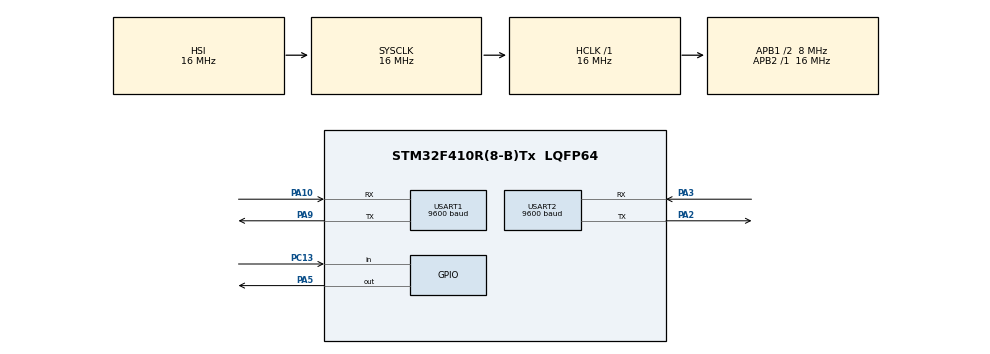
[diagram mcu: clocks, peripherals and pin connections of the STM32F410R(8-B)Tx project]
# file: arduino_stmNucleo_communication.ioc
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Dma.Request0=USART2_RX
Dma.Request1=USART2_TX
Dma.Request2=USART1_RX
Dma.Request3=USART1_TX
Dma.USART1_RX.2.Direction=DMA_PERIPH_TO_MEMORY
Dma.USART1_RX.2.FIFOMode=DMA_FIFOMODE_DISABLE
Dma.USART1_RX.2.Instance=DMA2_Stream2
Dma.USART1_RX.2.MemDataAlignment=DMA_MDATAALIGN_BYTE
Dma.USART1_RX.2.MemInc=DMA_MINC_ENABLE
Dma.USART1_RX.2.Mode=DMA_CIRCULAR
Dma.USART1_RX.2.PeriphDataAlignment=DMA_PDATAALIGN_BYTE
Dma.USART1_RX.2.PeriphInc=DMA_PINC_DISABLE
Dma.USART1_RX.2.Priority=DMA_PRIORITY_LOW
Dma.USART1_TX.3.Direction=DMA_MEMORY_TO_PERIPH
Dma.USART1_TX.3.FIFOMode=DMA_FIFOMODE_DISABLE
Dma.USART1_TX.3.Instance=DMA2_Stream7
Dma.USART1_TX.3.MemDataAlignment=DMA_MDATAALIGN_BYTE
Dma.USART1_TX.3.MemInc=DMA_MINC_ENABLE
Dma.USART1_TX.3.Mode=DMA_CIRCULAR
Dma.USART1_TX.3.PeriphDataAlignment=DMA_PDATAALIGN_BYTE
Dma.USART1_TX.3.PeriphInc=DMA_PINC_DISABLE
Dma.USART1_TX.3.Priority=DMA_PRIORITY_LOW
Dma.USART2_RX.0.Direction=DMA_PERIPH_TO_MEMORY
Dma.USART2_RX.0.FIFOMode=DMA_FIFOMODE_DISABLE
Dma.USART2_RX.0.Instance=DMA1_Stream5
Dma.USART2_RX.0.MemDataAlignment=DMA_MDATAALIGN_BYTE
Dma.USART2_RX.0.MemInc=DMA_MINC_ENABLE
Dma.USART2_RX.0.Mode=DMA_CIRCULAR
Dma.USART2_RX.0.PeriphDataAlignment=DMA_PDATAALIGN_BYTE
Dma.USART2_RX.0.PeriphInc=DMA_PINC_DISABLE
Dma.USART2_RX.0.Priority=DMA_PRIORITY_LOW
Dma.USART2_TX.1.Direction=DMA_MEMORY_TO_PERIPH
Dma.USART2_TX.1.FIFOMode=DMA_FIFOMODE_DISABLE
Dma.USART2_TX.1.Instance=DMA1_Stream6
Dma.USART2_TX.1.MemDataAlignment=DMA_MDATAALIGN_BYTE
Dma.USART2_TX.1.MemInc=DMA_MINC_ENABLE
Dma.USART2_TX.1.Mode=DMA_NORMAL
Dma.USART2_TX.1.PeriphDataAlignment=DMA_PDATAALIGN_BYTE
Dma.USART2_TX.1.PeriphInc=DMA_PINC_DISABLE
Dma.USART2_TX.1.Priority=DMA_PRIORITY_LOW
Mcu.Family=STM32F4
Mcu.Name=STM32F410R(8-B)Tx
Mcu.Package=LQFP64
NVIC.DMA1_Stream5_IRQn=true\:0\:0\:false\:false\:true\:false
NVIC.DMA1_Stream6_IRQn=true\:0\:0\:false\:false\:true\:false
NVIC.DMA2_Stream2_IRQn=true\:0\:0\:false\:false\:true\:false
NVIC.DMA2_Stream7_IRQn=true\:0\:0\:false\:false\:true\:false
NVIC.PriorityGroup=NVIC_PRIORITYGROUP_0
NVIC.USART1_IRQn=true\:0\:0\:false\:false\:true\:true
NVIC.USART2_IRQn=true\:0\:0\:false\:false\:true\:true
PA10.Mode=Asynchronous
PA10.Signal=USART1_RX
PA2.Mode=Asynchronous
PA2.Signal=USART2_TX
PA3.Mode=Asynchronous
PA3.Signal=USART2_RX
PA5.Signal=GPIO_Output
PA9.Mode=Asynchronous
PA9.Signal=USART1_TX
PC13-ANTI_TAMP.Signal=GPIO_Input
PH0\ -\ OSC_IN.Mode=HSE-External-Oscillator
PH0\ -\ OSC_IN.Signal=RCC_OSC_IN
PH1\ -\ OSC_OUT.Mode=HSE-External-Oscillator
PH1\ -\ OSC_OUT.Signal=RCC_OSC_OUT
ProjectManager.HeapSize=0x200
ProjectManager.StackSize=0x400
ProjectManager.TargetToolchain=MDK-ARM V5
RCC.48MHZClocksFreq_Value=84000000
RCC.AHBFreq_Value=16000000
RCC.APB1CLKDivider=RCC_HCLK_DIV2
RCC.APB1Freq_Value=8000000
RCC.APB1TimFreq_Value=16000000
RCC.APB2Freq_Value=16000000
RCC.APB2TimFreq_Value=16000000
RCC.CortexFreq_Value=16000000
RCC.FLatency-AdvancedSettings=FLASH_LATENCY_0
RCC.HCLKFreq_Value=16000000
RCC.HSE_VALUE=8000000
RCC.HSI_VALUE=16000000
RCC.PLLN=336
RCC.PLLP=RCC_PLLP_DIV4
RCC.SYSCLKFreq_VALUE=16000000
RCC.VCOOutputFreq_Value=336000000
USART1.BaudRate=9600
USART1.VirtualMode=VM_ASYNC
USART2.BaudRate=9600
USART2.VirtualMode=VM_ASYNC
board=NUCLEO-F410RB

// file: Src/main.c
/**
  ******************************************************************************
  * @file           : main.c
  * @brief          : Main program body
  ******************************************************************************
  ** This notice applies to any and all portions of this file
  * that are not between comment pairs USER CODE BEGIN and
  * USER CODE END. Other portions of this file, whether
  * inserted by the user or by software development tools
  * are owned by their respective copyright owners.
  *
  * COPYRIGHT(c) 2018 STMicroelectronics
  *
  * Redistribution and use in source and binary forms, with or without modification,
  * are permitted provided that the following conditions are met:
  *   1. Redistributions of source code must retain the above copyright notice,
  *      this list of conditions and the following disclaimer.
  *   2. Redistributions in binary form must reproduce the above copyright notice,
  *      this list of conditions and the following disclaimer in the documentation
  *      and/or other materials provided with the distribution.
  *   3. Neither the name of STMicroelectronics nor the names of its contributors
  *      may be used to endorse or promote products derived from this software
  *      without specific prior written permission.
  *
  * THIS SOFTWARE IS PROVIDED BY THE COPYRIGHT HOLDERS AND CONTRIBUTORS "AS IS"
  * AND ANY EXPRESS OR IMPLIED WARRANTIES, INCLUDING, BUT NOT LIMITED TO, THE
  * IMPLIED WARRANTIES OF MERCHANTABILITY AND FITNESS FOR A PARTICULAR PURPOSE ARE
  * DISCLAIMED. IN NO EVENT SHALL THE COPYRIGHT HOLDER OR CONTRIBUTORS BE LIABLE
  * FOR ANY DIRECT, INDIRECT, INCIDENTAL, SPECIAL, EXEMPLARY, OR CONSEQUENTIAL
  * DAMAGES (INCLUDING, BUT NOT LIMITED TO, PROCUREMENT OF SUBSTITUTE GOODS OR
  * SERVICES; LOSS OF USE, DATA, OR PROFITS; OR BUSINESS INTERRUPTION) HOWEVER
  * CAUSED AND ON ANY THEORY OF LIABILITY, WHETHER IN CONTRACT, STRICT LIABILITY,
  * OR TORT (INCLUDING NEGLIGENCE OR OTHERWISE) ARISING IN ANY WAY OUT OF THE USE
  * OF THIS SOFTWARE, EVEN IF ADVISED OF THE POSSIBILITY OF SUCH DAMAGE.
  *
  ******************************************************************************
  */
#include "main.h"
#include "stm32f4xx_hal.h"

/* USER CODE BEGIN Includes */
#include "math.h"
#include "string.h"

#define task1  '1'
#define task2  '2'
#define task3  '3'
#define Not_Done '0'
/* USER CODE END Includes */

UART_HandleTypeDef huart1;
UART_HandleTypeDef huart2;
DMA_HandleTypeDef hdma_usart1_rx;
DMA_HandleTypeDef hdma_usart1_tx;
DMA_HandleTypeDef hdma_usart2_rx;
DMA_HandleTypeDef hdma_usart2_tx;

/* USER CODE BEGIN PV */
/* Private variables ---------------------------------------------------------*/

/* USER CODE END PV */

void SystemClock_Config(void);
static void MX_GPIO_Init(void);
static void MX_DMA_Init(void);
static void MX_USART1_UART_Init(void);
static void MX_USART2_UART_Init(void);

/* USER CODE BEGIN PFP */
/* Private function prototypes -----------------------------------------------*/
void Ordtre_Arduino(char task);
void Wait_Arduino_task();
/* USER CODE END PFP */

/* USER CODE BEGIN 0 */
uint8_t mytxData[] ="0"; //Data to send
uint8_t myrxData[1];          // Data to receive

/* USER CODE END 0 */

int main(void)
{

  /* MCU Configuration----------------------------------------------------------*/

  /* Reset of all peripherals, Initializes the Flash interface and the Systick. */
  HAL_Init();

  /* Configure the system clock */
  SystemClock_Config();

  /* Initialize all configured peripherals */
  MX_GPIO_Init();
  MX_DMA_Init();
  MX_USART1_UART_Init();
  MX_USART2_UART_Init();
  /* USER CODE BEGIN 2 */
//HAL_UART_Receive_DMA(&huart1,myrxData,11);
  __HAL_UART_ENABLE_IT(&huart1,UART_IT_RXNE);
  __HAL_UART_ENABLE_IT(&huart1,UART_IT_TC);
  /* USER CODE END 2 */

  /* Infinite loop */
  while (1)
  {

  /* USER CODE BEGIN 3 */
myrxData[0]=Not_Done;

Ordtre_Arduino(task1);
Wait_Arduino_task();

HAL_GPIO_TogglePin(GPIOA,GPIO_PIN_5);

Ordtre_Arduino(task3);
Wait_Arduino_task();

HAL_GPIO_TogglePin(GPIOA,GPIO_PIN_5);

HAL_Delay(500000);
  }
  /* USER CODE END 3 */

}

void SystemClock_Config(void)
{

  RCC_OscInitTypeDef RCC_OscInitStruct;
  RCC_ClkInitTypeDef RCC_ClkInitStruct;

    /**Configure the main internal regulator output voltage
    */
  __HAL_RCC_PWR_CLK_ENABLE();

  __HAL_PWR_VOLTAGESCALING_CONFIG(PWR_REGULATOR_VOLTAGE_SCALE1);

    /**Initializes the CPU, AHB and APB busses clocks
    */
  RCC_OscInitStruct.OscillatorType = RCC_OSCILLATORTYPE_HSI;
  RCC_OscInitStruct.HSIState = RCC_HSI_ON;
  RCC_OscInitStruct.HSICalibrationValue = 16;
  RCC_OscInitStruct.PLL.PLLState = RCC_PLL_NONE;
  if (HAL_RCC_OscConfig(&RCC_OscInitStruct) != HAL_OK)
  {
    _Error_Handler(__FILE__, __LINE__);
  }

    /**Initializes the CPU, AHB and APB busses clocks
    */
  RCC_ClkInitStruct.ClockType = RCC_CLOCKTYPE_HCLK|RCC_CLOCKTYPE_SYSCLK
                              |RCC_CLOCKTYPE_PCLK1|RCC_CLOCKTYPE_PCLK2;
  RCC_ClkInitStruct.SYSCLKSource = RCC_SYSCLKSOURCE_HSI;
  RCC_ClkInitStruct.AHBCLKDivider = RCC_SYSCLK_DIV1;
  RCC_ClkInitStruct.APB1CLKDivider = RCC_HCLK_DIV2;
  RCC_ClkInitStruct.APB2CLKDivider = RCC_HCLK_DIV1;

  if (HAL_RCC_ClockConfig(&RCC_ClkInitStruct, FLASH_LATENCY_0) != HAL_OK)
  {
    _Error_Handler(__FILE__, __LINE__);
  }

    /**Configure the Systick interrupt time
    */
  HAL_SYSTICK_Config(HAL_RCC_GetHCLKFreq()/1000);

    /**Configure the Systick
    */
  HAL_SYSTICK_CLKSourceConfig(SYSTICK_CLKSOURCE_HCLK);

  /* SysTick_IRQn interrupt configuration */
  HAL_NVIC_SetPriority(SysTick_IRQn, 0, 0);
}

/* USART1 init function */
static void MX_USART1_UART_Init(void)
{

  huart1.Instance = USART1;
  huart1.Init.BaudRate = 9600;
  huart1.Init.WordLength = UART_WORDLENGTH_8B;
  huart1.Init.StopBits = UART_STOPBITS_1;
  huart1.Init.Parity = UART_PARITY_NONE;
  huart1.Init.Mode = UART_MODE_TX_RX;
  huart1.Init.HwFlowCtl = UART_HWCONTROL_NONE;
  huart1.Init.OverSampling = UART_OVERSAMPLING_16;
  if (HAL_UART_Init(&huart1) != HAL_OK)
  {
    _Error_Handler(__FILE__, __LINE__);
  }

}

/* USART2 init function */
static void MX_USART2_UART_Init(void)
{

  huart2.Instance = USART2;
  huart2.Init.BaudRate = 9600;
  huart2.Init.WordLength = UART_WORDLENGTH_8B;
  huart2.Init.StopBits = UART_STOPBITS_1;
  huart2.Init.Parity = UART_PARITY_NONE;
  huart2.Init.Mode = UART_MODE_TX_RX;
  huart2.Init.HwFlowCtl = UART_HWCONTROL_NONE;
  huart2.Init.OverSampling = UART_OVERSAMPLING_16;
  if (HAL_UART_Init(&huart2) != HAL_OK)
  {
    _Error_Handler(__FILE__, __LINE__);
  }

}

static void MX_DMA_Init(void)
{
  /* DMA controller clock enable */
  __HAL_RCC_DMA1_CLK_ENABLE();
  __HAL_RCC_DMA2_CLK_ENABLE();

  /* DMA interrupt init */
  /* DMA1_Stream5_IRQn interrupt configuration */
  HAL_NVIC_SetPriority(DMA1_Stream5_IRQn, 0, 0);
  HAL_NVIC_EnableIRQ(DMA1_Stream5_IRQn);
  /* DMA1_Stream6_IRQn interrupt configuration */
  HAL_NVIC_SetPriority(DMA1_Stream6_IRQn, 0, 0);
  HAL_NVIC_EnableIRQ(DMA1_Stream6_IRQn);
  /* DMA2_Stream2_IRQn interrupt configuration */
  HAL_NVIC_SetPriority(DMA2_Stream2_IRQn, 0, 0);
  HAL_NVIC_EnableIRQ(DMA2_Stream2_IRQn);
  /* DMA2_Stream7_IRQn interrupt configuration */
  HAL_NVIC_SetPriority(DMA2_Stream7_IRQn, 0, 0);
  HAL_NVIC_EnableIRQ(DMA2_Stream7_IRQn);

}

/** Configure pins as
        * Analog
        * Input
        * Output
        * EVENT_OUT
        * EXTI
*/
static void MX_GPIO_Init(void)
{

  GPIO_InitTypeDef GPIO_InitStruct;

  /* GPIO Ports Clock Enable */
  __HAL_RCC_GPIOC_CLK_ENABLE();
  __HAL_RCC_GPIOH_CLK_ENABLE();
  __HAL_RCC_GPIOA_CLK_ENABLE();

  /*Configure GPIO pin Output Level */
  HAL_GPIO_WritePin(GPIOA, GPIO_PIN_5, GPIO_PIN_RESET);

  /*Configure GPIO pin : PC13 */
  GPIO_InitStruct.Pin = GPIO_PIN_13;
  GPIO_InitStruct.Mode = GPIO_MODE_INPUT;
  GPIO_InitStruct.Pull = GPIO_NOPULL;
  HAL_GPIO_Init(GPIOC, &GPIO_InitStruct);

  /*Configure GPIO pin : PA5 */
  GPIO_InitStruct.Pin = GPIO_PIN_5;
  GPIO_InitStruct.Mode = GPIO_MODE_OUTPUT_PP;
  GPIO_InitStruct.Pull = GPIO_NOPULL;
  GPIO_InitStruct.Speed = GPIO_SPEED_FREQ_LOW;
  HAL_GPIO_Init(GPIOA, &GPIO_InitStruct);

}

/* USER CODE BEGIN 4 */

void HAL_UART_RxCpltCallback(UART_HandleTypeDef *huart)
{
  /* Prevent unused argument(s) compilation warning */
  UNUSED(huart);
  /* NOTE: This function Should not be modified, when the callback is needed,
           the HAL_UART_TxCpltCallback could be implemented in the user file
   */
	HAL_UART_Transmit(&huart2,myrxData,11,10);

}

void Ordtre_Arduino(char task)
{
mytxData[0]=task;
HAL_UART_Transmit_IT(&huart1,mytxData,6);
}

void Wait_Arduino_task()	{
while(myrxData[0]==Not_Done){                            // a mettre dans fonction
HAL_UART_Receive_IT(&huart1,myrxData,1);
}
myrxData[0]=Not_Done;
}

/* USER CODE END 4 */

void _Error_Handler(char *file, int line)
{
  while(1)
  {
  }
}

/************************ (C) COPYRIGHT STMicroelectronics *****END OF FILE****/
